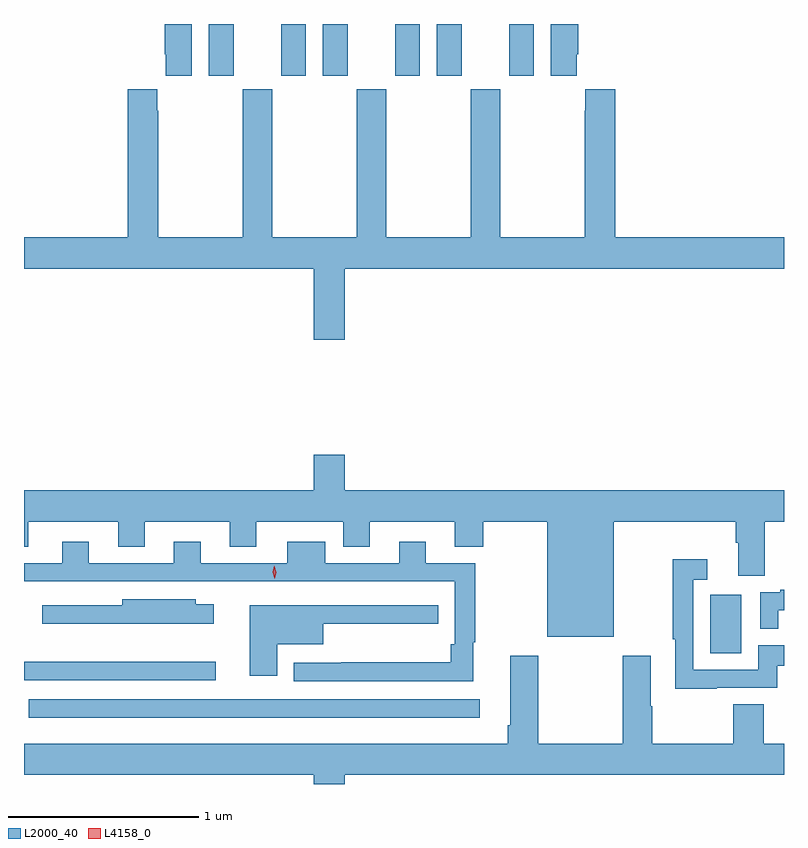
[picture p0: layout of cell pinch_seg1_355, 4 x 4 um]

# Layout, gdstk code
import gdstk
lib = gdstk.Library(unit=1e-6, precision=1e-09)
def R(c, l, rs):  # rectangles x0, y0, x1, y1
    for r in rs: c.add(gdstk.rectangle(r[:2], r[2:], *l))
def P(c, l, *ps):  # polygons
    for p in ps: c.add(gdstk.Polygon(p, *l))
L2000_40 = (2000, 40)
L4158_0 = (4158, 0)

pinch_seg1_355 = lib.new_cell('pinch_seg1_355')
R(pinch_seg1_355, L2000_40, [(990.681,546.704,993.055,546.801), (990.656,546.9,991.666,546.998), (994.268,547.044,994.432,547.351), (991.628,550.083,991.759,550.355), (992.009,550.083,992.14,550.355), (992.228,550.083,992.359,550.355), (992.609,550.083,992.74,550.355), (992.828,550.083,992.959,550.355), (993.209,550.083,993.34,550.355)])
P(pinch_seg1_355, L2000_40, [(991.54,550.355),(991.397,550.355),(991.397,550.195),(991.403,550.195),(991.403,550.083),(991.54,550.083)],
  [(993.565,550.195),(993.572,550.195),(993.572,550.355),(993.428,550.355),(993.428,550.083),(993.565,550.083)],
  [(994.656,549.232),(993.767,549.232),(993.767,550.012),(993.611,550.012),(993.611,549.899),(993.607,549.899),(993.607,549.232),(993.162,549.232),(993.162,550.012),(993.007,550.012),(993.007,549.232),(992.562,549.232),(992.562,550.012),(992.407,550.012),(992.407,549.232),(991.962,549.232),(991.962,550.012),(991.807,550.012),(991.807,549.232),(991.362,549.232),(991.362,549.899),(991.357,549.899),(991.357,550.012),(991.202,550.012),(991.202,549.232),(990.656,549.232),(990.656,549.068),(992.18,549.068),(992.18,548.694),(992.344,548.694),(992.344,549.068),(994.656,549.068)],
  [(993.76,547.736),(994.403,547.736),(994.403,547.624),(994.415,547.624),(994.415,547.45),(994.555,547.45),(994.555,547.736),(994.656,547.736),(994.656,547.9),(992.344,547.9),(992.344,548.089),(992.18,548.089),(992.18,547.9),(990.656,547.9),(990.656,547.603),(990.679,547.603),(990.679,547.736),(991.151,547.736),(991.151,547.603),(991.291,547.603),(991.291,547.736),(991.739,547.736),(991.739,547.603),(991.879,547.603),(991.879,547.736),(992.336,547.736),(992.336,547.603),(992.476,547.603),(992.476,547.736),(992.924,547.736),(992.924,547.603),(993.072,547.603),(993.072,547.736),(993.41,547.736),(993.41,547.13),(993.76,547.13)],
  [(993.02,547.1),(993.031,547.1),(993.031,547.518),(992.77,547.518),(992.77,547.63),(992.63,547.63),(992.63,547.518),(992.242,547.518),(992.242,547.63),(992.042,547.63),(992.042,547.518),(991.585,547.518),(991.585,547.63),(991.445,547.63),(991.445,547.518),(990.997,547.518),(990.997,547.63),(990.857,547.63),(990.857,547.518),(990.656,547.518),(990.656,547.422),(992.922,547.422),(992.922,547.09),(992.902,547.09),(992.902,546.995),(992.326,546.995),(992.326,546.993),(992.075,546.993),(992.075,546.897),(993.02,546.897)],
  [(994.301,546.861),(994.62,546.861),(994.62,546.978),(994.656,546.978),(994.656,547.086),(994.521,547.086),(994.521,546.957),(994.179,546.957),(994.179,547.431),(994.252,547.431),(994.252,547.537),(994.071,547.537),(994.071,547.117),(994.083,547.117),(994.083,546.856),(994.301,546.856)],
  [(994.625,547.269),(994.656,547.269),(994.656,547.378),(994.637,547.378),(994.637,547.365),(994.53,547.365),(994.53,547.171),(994.625,547.171)],
  [(991.654,547.3),(991.56,547.3),(991.56,547.327),(991.172,547.327),(991.172,547.296),(990.753,547.296),(990.753,547.199),(991.654,547.199)],
  [(991.99,547.091),(992.23,547.091),(992.23,547.199),(992.837,547.199),(992.837,547.295),(992.726,547.295),(992.726,547.296),(992.126,547.296),(992.126,547.297),(991.844,547.297),(991.844,546.924),(991.99,546.924)],
  [(992.344,546.404),(994.656,546.404),(994.656,546.568),(994.55,546.568),(994.55,546.776),(994.39,546.776),(994.39,546.568),(993.963,546.568),(993.963,546.764),(993.955,546.764),(993.955,547.03),(993.808,547.03),(993.808,546.568),(993.363,546.568),(993.363,547.03),(993.215,547.03),(993.215,546.664),(993.203,546.664),(993.203,546.568),(990.656,546.568),(990.656,546.404),(992.18,546.404),(992.18,546.355),(992.344,546.355)])
P(pinch_seg1_355, L4158_0, [(991.975,547.435),(991.975,547.435),(991.964,547.47),(991.973,547.505),(991.973,547.505),(991.973,547.505),(991.984,547.47),(991.975,547.435)])

lib.write_gds('pinch_seg1_355.gds')
